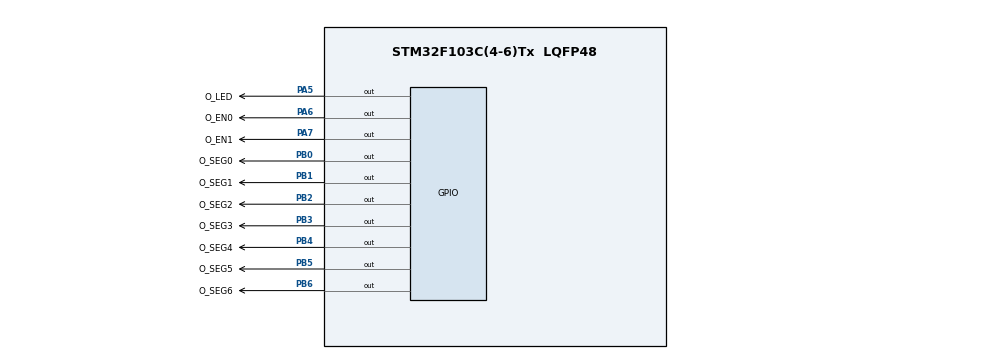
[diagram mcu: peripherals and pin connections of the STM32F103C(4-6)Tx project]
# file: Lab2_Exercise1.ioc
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Mcu.Family=STM32F1
Mcu.Name=STM32F103C(4-6)Tx
Mcu.Package=LQFP48
NVIC.PriorityGroup=NVIC_PRIORITYGROUP_4
NVIC.TIM2_IRQn=true\:0\:0\:false\:false\:true\:true\:true\:true
PA5.GPIO_Label=O_LED
PA5.Signal=GPIO_Output
PA6.GPIO_Label=O_EN0
PA6.Signal=GPIO_Output
PA7.GPIO_Label=O_EN1
PA7.Signal=GPIO_Output
PB0.GPIO_Label=O_SEG0
PB0.Signal=GPIO_Output
PB1.GPIO_Label=O_SEG1
PB1.Signal=GPIO_Output
PB2.GPIO_Label=O_SEG2
PB2.Signal=GPIO_Output
PB3.GPIO_Label=O_SEG3
PB3.Signal=GPIO_Output
PB4.GPIO_Label=O_SEG4
PB4.Signal=GPIO_Output
PB5.GPIO_Label=O_SEG5
PB5.Signal=GPIO_Output
PB6.GPIO_Label=O_SEG6
PB6.Signal=GPIO_Output
ProjectManager.HeapSize=0x200
ProjectManager.StackSize=0x400
ProjectManager.TargetToolchain=STM32CubeIDE
RCC.APB1Freq_Value=8000000
RCC.APB2Freq_Value=8000000
TIM2.Period=9
TIM2.Prescaler=7999
VP_TIM2_VS_ClockSourceINT.Mode=Internal
board=custom

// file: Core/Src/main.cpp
/* USER CODE BEGIN Header */
/**
 ******************************************************************************
 * @file           : main.c
 * @brief          : Main program body
 ******************************************************************************
 * @attention
 *
 * Copyright (c) 2022 STMicroelectronics.
 * All rights reserved.
 *
 * This software is licensed under terms that can be found in the LICENSE file
 * in the root directory of this software component.
 * If no LICENSE file comes with this software, it is provided AS-IS.
 *
 ******************************************************************************
 */
/* USER CODE END Header */
#include "main.h"

#include "timer.h"
#include "pin_pair.h"
#include "segment_led.h"
#include "service.h"
#include "lab_one_service.h"
#include "states.h"

TIM_HandleTypeDef htim2;

void SystemClock_Config(void);
static void MX_GPIO_Init(void);
static void MX_TIM2_Init(void);

void HAL_TIM_PeriodElapsedCallback(TIM_HandleTypeDef *htim);

/* USER CODE BEGIN 0 */
Timer *timer = new Timer();

/* USER CODE END 0 */

int main(void) {

	/* MCU Configuration--------------------------------------------------------*/

	/* Reset of all peripherals, Initializes the Flash interface and the Systick. */
	HAL_Init();

	/* Configure the system clock */
	SystemClock_Config();

	/* USER CODE BEGIN SysInit */
	PinPair *led = new PinPair(O_LED_GPIO_Port, O_LED_Pin);
	PinPair *signalLeft = new PinPair(O_EN0_GPIO_Port, O_EN0_Pin);
	PinPair *signalRight = new PinPair(O_EN1_GPIO_Port, O_EN1_Pin);

	PinPair *led0 = new PinPair(O_SEG0_GPIO_Port, O_SEG0_Pin);
	PinPair *led1 = new PinPair(O_SEG1_GPIO_Port, O_SEG1_Pin);
	PinPair *led2 = new PinPair(O_SEG2_GPIO_Port, O_SEG2_Pin);
	PinPair *led3 = new PinPair(O_SEG3_GPIO_Port, O_SEG3_Pin);
	PinPair *led4 = new PinPair(O_SEG4_GPIO_Port, O_SEG4_Pin);
	PinPair *led5 = new PinPair(O_SEG5_GPIO_Port, O_SEG5_Pin);
	PinPair *led6 = new PinPair(O_SEG6_GPIO_Port, O_SEG6_Pin);
	/* USER CODE END SysInit */

	/* Initialize all configured peripherals */
	MX_GPIO_Init();
	MX_TIM2_Init();
	/* USER CODE BEGIN 2 */

	HAL_TIM_Base_Start_IT(&htim2);

	LabOneService *service = new LabOneService(timer, signalLeft, signalRight, led0,
			led1, led2, led3, led4, led5, led6, led);

	/* USER CODE END 2 */

	/* Infinite loop */
	/* USER CODE BEGIN WHILE */
	int status = INIT;

	while (1) {
		/* USER CODE END WHILE */
		service->run(status);
	}
}

int counter = 100;

void HAL_TIM_PeriodElapsedCallback(TIM_HandleTypeDef *htim) {
	timer->run();
}

void SystemClock_Config(void) {
	RCC_OscInitTypeDef RCC_OscInitStruct = { 0 };
	RCC_ClkInitTypeDef RCC_ClkInitStruct = { 0 };

	/** Initializes the RCC Oscillators according to the specified parameters
	 * in the RCC_OscInitTypeDef structure.
	 */
	RCC_OscInitStruct.OscillatorType = RCC_OSCILLATORTYPE_HSI;
	RCC_OscInitStruct.HSIState = RCC_HSI_ON;
	RCC_OscInitStruct.HSICalibrationValue = RCC_HSICALIBRATION_DEFAULT;
	RCC_OscInitStruct.PLL.PLLState = RCC_PLL_NONE;
	if (HAL_RCC_OscConfig(&RCC_OscInitStruct) != HAL_OK) {
		Error_Handler();
	}

	/** Initializes the CPU, AHB and APB buses clocks
	 */
	RCC_ClkInitStruct.ClockType = RCC_CLOCKTYPE_HCLK | RCC_CLOCKTYPE_SYSCLK
			| RCC_CLOCKTYPE_PCLK1 | RCC_CLOCKTYPE_PCLK2;
	RCC_ClkInitStruct.SYSCLKSource = RCC_SYSCLKSOURCE_HSI;
	RCC_ClkInitStruct.AHBCLKDivider = RCC_SYSCLK_DIV1;
	RCC_ClkInitStruct.APB1CLKDivider = RCC_HCLK_DIV1;
	RCC_ClkInitStruct.APB2CLKDivider = RCC_HCLK_DIV1;

	if (HAL_RCC_ClockConfig(&RCC_ClkInitStruct, FLASH_LATENCY_0) != HAL_OK) {
		Error_Handler();
	}
}

static void MX_TIM2_Init(void) {

	TIM_ClockConfigTypeDef sClockSourceConfig = { 0 };
	TIM_MasterConfigTypeDef sMasterConfig = { 0 };

	htim2.Instance = TIM2;
	htim2.Init.Prescaler = 7999;
	htim2.Init.CounterMode = TIM_COUNTERMODE_UP;
	htim2.Init.Period = 9;
	htim2.Init.ClockDivision = TIM_CLOCKDIVISION_DIV1;
	htim2.Init.AutoReloadPreload = TIM_AUTORELOAD_PRELOAD_DISABLE;
	if (HAL_TIM_Base_Init(&htim2) != HAL_OK) {
		Error_Handler();
	}
	sClockSourceConfig.ClockSource = TIM_CLOCKSOURCE_INTERNAL;
	if (HAL_TIM_ConfigClockSource(&htim2, &sClockSourceConfig) != HAL_OK) {
		Error_Handler();
	}
	sMasterConfig.MasterOutputTrigger = TIM_TRGO_RESET;
	sMasterConfig.MasterSlaveMode = TIM_MASTERSLAVEMODE_DISABLE;
	if (HAL_TIMEx_MasterConfigSynchronization(&htim2, &sMasterConfig)
			!= HAL_OK) {
		Error_Handler();
	}

}

static void MX_GPIO_Init(void) {
	GPIO_InitTypeDef GPIO_InitStruct = { 0 };

	/* GPIO Ports Clock Enable */
	__HAL_RCC_GPIOA_CLK_ENABLE();
	__HAL_RCC_GPIOB_CLK_ENABLE();

	/*Configure GPIO pin Output Level */
	HAL_GPIO_WritePin(GPIOA, O_LED_Pin | O_EN0_Pin | O_EN1_Pin, GPIO_PIN_RESET);

	/*Configure GPIO pin Output Level */
	HAL_GPIO_WritePin(GPIOB,
			O_SEG0_Pin | O_SEG1_Pin | O_SEG2_Pin | O_SEG3_Pin | O_SEG4_Pin
					| O_SEG5_Pin | O_SEG6_Pin, GPIO_PIN_RESET);

	/*Configure GPIO pins : O_LED_Pin O_EN0_Pin O_EN1_Pin */
	GPIO_InitStruct.Pin = O_LED_Pin | O_EN0_Pin | O_EN1_Pin;
	GPIO_InitStruct.Mode = GPIO_MODE_OUTPUT_PP;
	GPIO_InitStruct.Pull = GPIO_NOPULL;
	GPIO_InitStruct.Speed = GPIO_SPEED_FREQ_LOW;
	HAL_GPIO_Init(GPIOA, &GPIO_InitStruct);

	/*Configure GPIO pins : O_SEG0_Pin O_SEG1_Pin O_SEG2_Pin O_SEG3_Pin
	 O_SEG4_Pin O_SEG5_Pin O_SEG6_Pin */
	GPIO_InitStruct.Pin = O_SEG0_Pin | O_SEG1_Pin | O_SEG2_Pin | O_SEG3_Pin
			| O_SEG4_Pin | O_SEG5_Pin | O_SEG6_Pin;
	GPIO_InitStruct.Mode = GPIO_MODE_OUTPUT_PP;
	GPIO_InitStruct.Pull = GPIO_NOPULL;
	GPIO_InitStruct.Speed = GPIO_SPEED_FREQ_LOW;
	HAL_GPIO_Init(GPIOB, &GPIO_InitStruct);

}

void Error_Handler(void) {
	__disable_irq();
	while (1) {
	}
}
